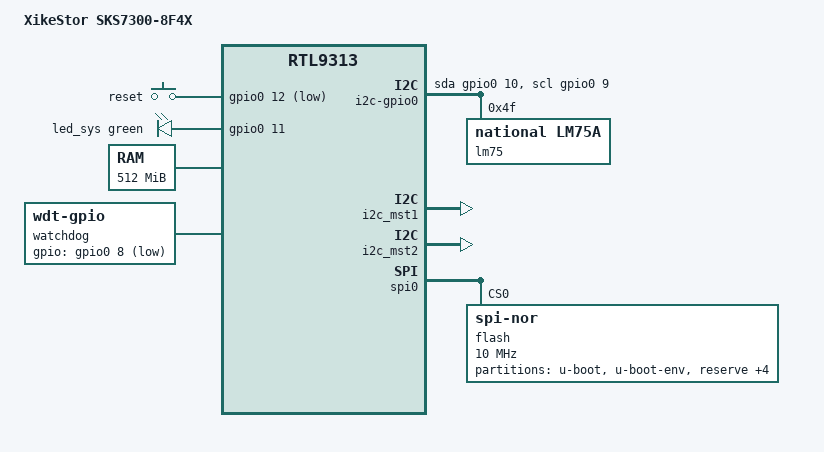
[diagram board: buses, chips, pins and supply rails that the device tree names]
// SPDX-License-Identifier: GPL-2.0-or-later

#include "rtl931x.dtsi"

#include <dt-bindings/gpio/gpio.h>
#include <dt-bindings/input/input.h>
#include <dt-bindings/leds/common.h>

/ {
	compatible = "xikestor,sks7300-8f4x", "realtek,rtl9313-soc";
	model = "XikeStor SKS7300-8F4X";

	aliases {
		label-mac-device = &ethernet0;
		led-boot = &led_sys;
		led-failsafe = &led_sys;
		led-running = &led_sys;
		led-upgrade = &led_sys;
	};

	chosen {
		stdout-path = "serial0:115200n8";
		/* Silencing the kernel is required since otherwise the watchdog
		   would time out! */
		bootargs = "quiet";
	};

	keys {
		compatible = "gpio-keys";

		button-reset {
			label = "reset";
			gpios = <&gpio0 12 GPIO_ACTIVE_LOW>;
			linux,code = <KEY_RESTART>;
		};
	};

	leds {
		compatible = "gpio-leds";

		led_sys: led-0 {
			gpios = <&gpio0 11 GPIO_ACTIVE_HIGH>;
			color = <LED_COLOR_ID_GREEN>;
			function = LED_FUNCTION_STATUS;
		};
	};

	led_set {
		compatible = "realtek,rtl9300-leds";
		active-low;

		/* LED[0]: green | LED[1]: amber */
		led_set0 = <(RTL93XX_LED_SET_10G | RTL93XX_LED_SET_LINK |
			     RTL93XX_LED_SET_ACT)
			    (RTL93XX_LED_SET_2P5G | RTL93XX_LED_SET_1G |
			     RTL93XX_LED_SET_LINK | RTL93XX_LED_SET_ACT)>;
	};

	i2c-gpio0 {
		compatible = "i2c-gpio";
		#address-cells = <1>;
		#size-cells = <0>;

		scl-gpios = <&gpio0 9 GPIO_ACTIVE_HIGH>;
		sda-gpios = <&gpio0 10 GPIO_ACTIVE_HIGH>;

		i2c-gpio,delay-us = <5>;	/* ~100 kHz */
		lm75: sensor@4f {
			compatible = "national,lm75a";
			reg = <0x4f>;
		};
	};

	memory@0 {
		device_type = "memory";
		reg = <0x00000000 0x10000000>, /* first 256 MiB */
		      <0x90000000 0x10000000>; /* remaining 256 MiB */
	};

	watchdog {
		compatible = "linux,wdt-gpio";
		gpios = <&gpio0 8 GPIO_ACTIVE_LOW>;
		hw_algo = "toggle";
		hw_margin_ms = <1200>;
		always-running;
	};
};

&ethernet0 {
	nvmem-cells = <&macaddr_ubootenv_ethaddr 0>;
	nvmem-cell-names = "mac-address";
};

&i2c_mst1 {
	status = "okay";

	i2c1_sda0: i2c@0 {
		reg = <0>;
	};
	i2c1_sda1: i2c@1 {
		reg = <1>;
	};
	i2c1_sda2: i2c@2 {
		reg = <2>;
	};
	i2c1_sda3: i2c@3 {
		reg = <3>;
	};
	i2c1_sda4: i2c@4 {
		reg = <4>;
	};
	i2c1_sda5: i2c@5 {
		reg = <5>;
	};
};

&i2c_mst2 {
	status = "okay";

	i2c2_sda6: i2c@6 {
		reg = <6>;
	};
	i2c2_sda7: i2c@7 {
		reg = <7>;
	};
	i2c2_sda8: i2c@8 {
		reg = <8>;
	};
	i2c2_sda9: i2c@9 {
		reg = <9>;
	};
	i2c2_sda10: i2c@a {
		reg = <10>;
	};
	i2c2_sda11: i2c@b {
		reg = <11>;
	};
};

&serdes2 {
	realtek,pnswap-tx;
};

&serdes3 {
	realtek,pnswap-tx;
};

&serdes4 {
	realtek,pnswap-tx;
};

&serdes5 {
	realtek,pnswap-tx;
};

&serdes6 {
	realtek,pnswap-tx;
};

&serdes7 {
	realtek,pnswap-tx;
};

&serdes8 {
	realtek,pnswap-tx;
};

&serdes9 {
	realtek,pnswap-tx;
};

&serdes10 {
	realtek,pnswap-tx;
};

&serdes11 {
	realtek,pnswap-tx;
};

&serdes12 {
	realtek,pnswap-tx;
};

&serdes13 {
	realtek,pnswap-tx;
};

&spi0 {
	status = "okay";

	flash@0 {
		compatible = "jedec,spi-nor";
		reg = <0>;
		spi-max-frequency = <10000000>;

		partitions {
			compatible = "fixed-partitions";
			#address-cells = <1>;
			#size-cells = <1>;

			partition@0 {
				label = "u-boot";
				reg = <0x0 0x0a0000>;
				read-only;
			};

			partition@0a0000 {
				label = "u-boot-env";
				reg = <0x0a0000 0x10000>;

				nvmem-layout {
					compatible = "u-boot,env";

					macaddr_ubootenv_ethaddr: ethaddr {
						#nvmem-cell-cells = <1>;
					};
				};
			};

			partition@b0000 {
				label = "reserve";
				reg = <0xb0000 0x80000>;
				read-only;
			};

			partition@130000 {
				label = "config";
				reg = <0x130000 0x350000>;
				read-only;
			};

			partition@480000 {
				label = "firmware";
				reg = <0x480000 0x01b80000>;

				compatible = "fixed-partitions";
				#address-cells = <1>;
				#size-cells = <1>;

				partition@0 {
					label = "kernel";
					reg = <0x0 0x800000>;
				};

				partition@800000 {
					label = "rootfs";
					reg = <0x800000 0x1380000>;
				};
			};
		};
	};
};

&switch0 {
	ethernet-ports {
		#address-cells = <1>;
		#size-cells = <0>;

		port0: port@0 {
			reg = <0>;
			label = "lan1";
			led-set = <0>;
			managed = "in-band-status";
			pcs-handle = <&serdes2>;
			phy-mode = "1000base-x";
		};

		port8: port@8 {
			reg = <8>;
			label = "lan2";
			led-set = <0>;
			managed = "in-band-status";
			pcs-handle = <&serdes3>;
			phy-mode = "1000base-x";
		};

		port16: port@16 {
			reg = <16>;
			label = "lan3";
			led-set = <0>;
			managed = "in-band-status";
			pcs-handle = <&serdes4>;
			phy-mode = "1000base-x";
		};

		port24: port@24 {
			reg = <24>;
			label = "lan4";
			led-set = <0>;
			managed = "in-band-status";
			pcs-handle = <&serdes5>;
			phy-mode = "1000base-x";
		};

		port32: port@32 {
			reg = <32>;
			label = "lan5";
			led-set = <0>;
			managed = "in-band-status";
			pcs-handle = <&serdes6>;
			phy-mode = "1000base-x";
		};

		port40: port@40 {
			reg = <40>;
			label = "lan6";
			led-set = <0>;
			managed = "in-band-status";
			pcs-handle = <&serdes7>;
			phy-mode = "1000base-x";
		};

		port48: port@48 {
			reg = <48>;
			label = "lan7";
			led-set = <0>;
			managed = "in-band-status";
			pcs-handle = <&serdes8>;
			phy-mode = "1000base-x";
		};

		port50: port@50 {
			reg = <50>;
			label = "lan8";
			led-set = <0>;
			managed = "in-band-status";
			pcs-handle = <&serdes9>;
			phy-mode = "1000base-x";
		};

		port52: port@52 {
			reg = <52>;
			label = "lan10";
			led-set = <0>;
			managed = "in-band-status";
			pcs-handle = <&serdes10>;
			phy-mode = "1000base-x";
		};

		port53: port@53 {
			reg = <53>;
			label = "lan9";
			led-set = <0>;
			managed = "in-band-status";
			pcs-handle = <&serdes11>;
			phy-mode = "1000base-x";
		};

		port54: port@54 {
			reg = <54>;
			label = "lan12";
			led-set = <0>;
			managed = "in-band-status";
			pcs-handle = <&serdes12>;
			phy-mode = "1000base-x";
		};

		port55: port@55 {
			reg = <55>;
			label = "lan11";
			led-set = <0>;
			managed = "in-band-status";
			pcs-handle = <&serdes13>;
			phy-mode = "1000base-x";
		};

		/* CPU port */
		port@56 {
			ethernet = <&ethernet0>;
			reg = <56>;
			phy-mode = "internal";
			fixed-link {
				speed = <1000>;
				full-duplex;
			};
		};
	};
};
